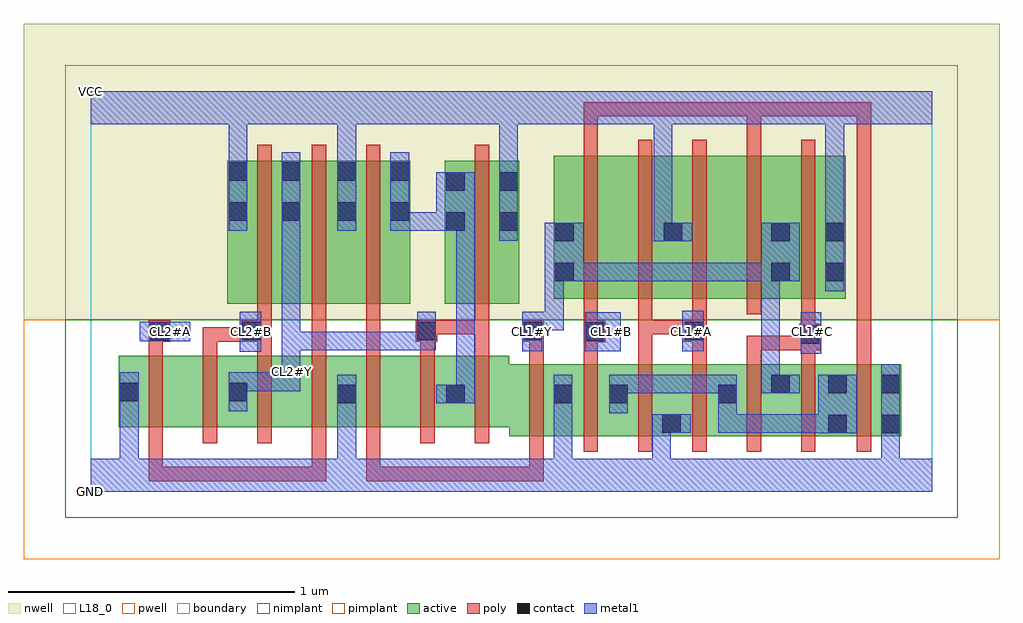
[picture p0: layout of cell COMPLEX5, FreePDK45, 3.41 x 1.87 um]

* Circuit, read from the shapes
.subckt COMPLEX5 CL1#A CL1#B CL1#C CL1#Y CL2#A CL2#B CL2#Y GND VCC
M1 n1 CL2#A GND VSUBS nfet w=0.25u l=0.05u
M2 CL2#Y CL2#B n1 VSUBS nfet w=0.25u l=0.05u
M3 n2 CL2#B CL2#Y VSUBS nfet w=0.25u l=0.05u
M4 GND CL2#A n2 VSUBS nfet w=0.25u l=0.05u
M5 n3 CL1#Y GND VSUBS nfet w=0.25u l=0.05u
M6 n4 CL2#Y n3 VSUBS nfet w=0.25u l=0.05u
M7 n5 CL2#Y n4 VSUBS nfet w=0.25u l=0.05u
M8 GND CL1#Y n5 VSUBS nfet w=0.25u l=0.05u
M9 n6 CL1#B GND VSUBS nfet w=0.25u l=0.05u m=2
M10 GND CL1#A n6 VSUBS nfet w=0.25u l=0.05u m=2
M11 CL1#Y CL1#C n6 VSUBS nfet w=0.25u l=0.05u m=2
M12 CL2#Y CL2#B VCC n7 pfet w=0.5u l=0.05u
M13 VCC CL2#A CL2#Y n7 pfet w=0.5u l=0.05u
M14 n4 CL1#Y VCC n7 pfet w=0.5u l=0.05u
M15 VCC CL2#Y n4 n7 pfet w=0.5u l=0.05u
M16 n8 CL1#B CL1#Y n7 pfet w=0.5u l=0.05u
M17 VCC CL1#A n8 n7 pfet w=0.5u l=0.05u
M18 n9 CL1#A VCC n7 pfet w=0.5u l=0.05u
M19 CL1#Y CL1#B n9 n7 pfet w=0.5u l=0.05u
M20 VCC CL1#C CL1#Y n7 pfet w=0.5u l=0.05u
.ends

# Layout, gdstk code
import gdstk
lib = gdstk.Library(unit=1e-6, precision=1e-09)
def R(c, l, rs):  # rectangles x0, y0, x1, y1
    for r in rs: c.add(gdstk.rectangle(r[:2], r[2:], *l))
def A(c, l, x, y, w, h, nx, ny, dx, dy):  # array of equal rectangles
    R(c, l, [(x+i*dx, y+j*dy, x+i*dx+w, y+j*dy+h) for i in range(nx) for j in range(ny)])
active = (1, 0)
pwell = (2, 0)
nwell = (3, 0)
nimplant = (4, 0)
pimplant = (5, 0)
poly = (9, 0)
contact = (10, 0)
metal1 = (11, 0)
L18_0 = (18, 0)
boundary = (235, 0)

complex5 = lib.new_cell('COMPLEX5')
A(complex5, active, 0.097, 0.225, 0.225, 0.25, 4, 1, 0.38, 0)
A(complex5, active, 0.322, 0.225, 0.23, 0.25, 3, 1, 0.38, 0)
A(complex5, active, 0.477, 0.657, 0.26, 0.5, 3, 1, 0.38, 0)
R(complex5, active, [(1.462,0.195,1.687,0.445), (1.612,0.195,1.882,0.445), (1.807,0.195,2.067,0.445), (1.992,0.195,2.262,0.445), (1.992,0.195,2.067,0.372), (2.187,0.195,2.447,0.445), (2.372,0.195,2.647,0.445), (2.572,0.195,2.832,0.445), (2.757,0.195,2.832,0.445), (2.572,0.2,2.647,0.415), (0.097,0.225,0.172,0.475), (0.857,0.225,0.932,0.387), (1.237,0.225,1.312,0.467), (2.187,0.282,2.262,0.38), (0.477,0.297,0.552,0.467), (1.612,0.297,1.687,0.38), (1.807,0.297,1.882,0.38), (2.372,0.297,2.447,0.415), (0.477,0.657,0.552,1.157), (0.662,0.657,0.737,1.157), (0.662,0.657,0.932,1.157), (0.857,0.657,0.932,1.157), (1.042,0.657,1.117,1.157), (1.237,0.657,1.312,1.157), (1.422,0.657,1.497,1.157), (1.617,0.675,1.692,1.175), (1.617,0.675,1.842,1.175), (1.842,0.675,2.072,1.175), (1.997,0.675,2.072,1.175), (1.997,0.675,2.222,1.175), (2.222,0.675,2.447,1.175), (2.372,0.675,2.637,1.175), (2.562,0.675,2.637,1.175), (2.372,0.73,2.447,1.175)])
R(complex5, pwell, [(-0.235,-0.235,3.175,0.602)])
R(complex5, nwell, [(-0.235,0.602,3.175,1.635)])
R(complex5, nimplant, [(-0.09,-0.09,3.03,0.602)])
R(complex5, pimplant, [(-0.09,0.602,3.03,1.49)])
A(complex5, poly, 1.532, 0.14, 0.05, 0.36, 6, 1, 0.19, 0)
A(complex5, poly, 0.202, 0.17, 0.05, 0.36, 7, 1, 0.19, 0)
A(complex5, poly, 0.202, 0.48, 0.05, 0.095, 6, 1, 0.19, 0)
A(complex5, poly, 0.582, 0.602, 0.05, 0.61, 3, 1, 0.19, 0)
A(complex5, poly, 1.722, 0.62, 0.05, 0.61, 5, 1, 0.19, 0)
R(complex5, poly, [(0.202,0.037,0.252,0.087), (0.202,0.037,0.252,0.087), (0.202,0.037,0.252,0.087), (0.202,0.037,0.252,0.22), (0.202,0.037,0.442,0.087), (0.392,0.037,0.442,0.087), (0.392,0.037,0.442,0.087), (0.392,0.037,0.442,0.087), (0.392,0.037,0.69,0.087), (0.64,0.037,0.69,0.087), (0.64,0.037,0.69,0.087), (0.64,0.037,0.69,0.087), (0.64,0.037,0.822,0.087), (0.772,0.037,0.822,0.087), (0.772,0.037,0.822,0.22), (0.962,0.037,1.012,0.087), (0.962,0.037,1.26,0.087), (0.962,0.037,1.012,0.22), (1.21,0.037,1.26,0.087), (1.21,0.037,1.26,0.087), (1.21,0.037,1.26,0.087), (1.21,0.037,1.425,0.087), (1.375,0.037,1.425,0.087), (1.375,0.037,1.425,0.087), (1.375,0.037,1.425,0.087), (1.375,0.037,1.582,0.087), (1.532,0.037,1.582,0.087), (1.532,0.037,1.582,0.087), (1.532,0.037,1.582,0.087), (1.532,0.037,1.582,0.19), (2.677,0.14,2.727,0.5), (1.532,0.45,1.582,0.575), (1.722,0.45,1.772,0.572), (1.912,0.45,1.962,0.6), (2.102,0.45,2.152,0.575), (2.292,0.45,2.342,0.545), (2.482,0.45,2.532,0.545), (2.677,0.45,2.727,1.362), (1.342,0.48,1.392,0.6), (2.292,0.495,2.342,0.545), (2.292,0.495,2.525,0.545), (2.475,0.495,2.525,0.545), (2.475,0.495,2.525,0.545), (2.475,0.495,2.55,0.587), (1.722,0.522,1.797,0.597), (0.202,0.525,0.277,0.6), (0.392,0.525,0.442,0.575), (0.392,0.525,0.442,0.575), (0.392,0.525,0.442,0.575), (0.392,0.525,0.575,0.575), (0.525,0.525,0.632,0.6), (0.772,0.525,0.822,0.575), (0.772,0.525,0.822,0.652), (0.962,0.525,1.012,0.575), (0.962,0.525,1.012,0.652), (1.135,0.525,1.21,0.6), (1.507,0.525,1.582,0.6), (2.072,0.525,2.152,0.6), (2.482,0.537,2.532,0.67), (1.722,0.547,1.772,0.67), (0.582,0.55,0.632,0.652), (1.16,0.55,1.392,0.6), (1.342,0.55,1.392,0.6), (1.342,0.55,1.392,0.6), (1.342,0.55,1.392,0.6), (1.342,0.55,1.392,0.652), (1.912,0.55,1.962,0.6), (1.912,0.55,1.962,0.67), (1.912,0.55,2.122,0.6), (2.072,0.55,2.122,0.6), (2.072,0.55,2.122,0.6), (2.102,0.55,2.152,0.67), (1.342,0.602,1.392,1.212), (1.722,1.18,1.772,1.362), (2.292,1.18,2.342,1.362), (1.722,1.312,1.772,1.362), (1.722,1.312,1.772,1.362), (1.722,1.312,1.772,1.362), (1.722,1.312,1.99,1.362), (1.94,1.312,1.99,1.362), (1.94,1.312,1.99,1.362), (1.94,1.312,1.99,1.362), (1.94,1.312,2.122,1.362), (2.072,1.312,2.122,1.362), (2.072,1.312,2.285,1.362), (2.235,1.312,2.285,1.362), (2.235,1.312,2.342,1.362), (2.292,1.312,2.342,1.362), (2.292,1.312,2.595,1.362), (2.545,1.312,2.595,1.362), (2.545,1.312,2.595,1.362), (2.545,1.312,2.595,1.362), (2.545,1.312,2.727,1.362), (2.677,1.312,2.727,1.362), (2.677,1.312,2.727,1.362), (2.677,1.312,2.727,1.362), (2.677,1.312,2.727,1.362), (2.677,1.312,2.727,1.362), (2.677,1.312,2.727,1.362), (2.677,1.312,2.727,1.362), (2.677,1.312,2.727,1.362), (2.677,1.312,2.727,1.362), (2.677,1.312,2.727,1.362), (2.677,1.312,2.727,1.362), (2.677,1.312,2.727,1.362), (2.677,1.312,2.727,1.362)])
R(complex5, contact, [(2.577,0.205,2.642,0.27), (2.762,0.205,2.827,0.27), (1.997,0.207,2.062,0.272), (0.862,0.31,0.927,0.375), (1.242,0.31,1.307,0.375), (1.617,0.31,1.682,0.375), (1.812,0.31,1.877,0.375), (2.192,0.31,2.257,0.375), (0.102,0.317,0.167,0.382), (0.482,0.317,0.547,0.382), (2.377,0.345,2.442,0.41), (2.577,0.345,2.642,0.41), (2.762,0.345,2.827,0.41), (2.48,0.517,2.545,0.582), (1.727,0.527,1.792,0.592), (0.207,0.53,0.272,0.595), (0.53,0.53,0.595,0.595), (1.14,0.53,1.205,0.595), (1.512,0.53,1.577,0.595), (2.077,0.53,2.142,0.595), (1.622,0.735,1.687,0.8), (2.377,0.735,2.442,0.8), (2.567,0.735,2.632,0.8), (1.622,0.875,1.687,0.94), (2.002,0.875,2.067,0.94), (2.377,0.875,2.442,0.94), (2.567,0.875,2.632,0.94), (1.242,0.912,1.307,0.977), (1.427,0.912,1.492,0.977), (0.482,0.947,0.547,1.012), (0.667,0.947,0.732,1.012), (0.862,0.947,0.927,1.012), (1.047,0.947,1.112,1.012), (1.242,1.052,1.307,1.117), (1.427,1.052,1.492,1.117), (0.482,1.087,0.547,1.152), (0.667,1.087,0.732,1.152), (0.862,1.087,0.927,1.152), (1.047,1.087,1.112,1.152)])
R(complex5, metal1, [(0,0,2.94,0.115), (0.102,0.05,0.167,0.115), (0.102,0.05,0.167,0.115), (0.102,0.05,0.167,0.115), (0.102,0.05,0.167,0.115), (0.102,0.05,0.167,0.347), (0.862,0.05,0.927,0.115), (0.862,0.05,0.927,0.115), (0.862,0.05,0.927,0.115), (0.862,0.05,0.927,0.115), (0.862,0.05,0.927,0.34), (1.617,0.05,1.682,0.34), (1.962,0.05,2.027,0.272), (2.762,0.05,2.827,0.235), (2.762,0.05,2.827,0.115), (2.762,0.05,2.827,0.115), (2.762,0.05,2.827,0.115), (2.762,0.05,2.827,0.115), (2.762,0.17,2.827,0.445), (2.542,0.205,2.677,0.41), (1.962,0.207,2.027,0.272), (1.962,0.207,2.027,0.272), (1.962,0.207,2.027,0.272), (1.962,0.207,2.027,0.272), (1.962,0.207,2.097,0.272), (2.192,0.207,2.257,0.272), (2.192,0.207,2.407,0.272), (2.192,0.207,2.257,0.34), (2.342,0.207,2.407,0.272), (2.342,0.207,2.407,0.272), (2.342,0.207,2.407,0.272), (2.342,0.207,2.607,0.272), (2.542,0.207,2.607,0.272), (2.542,0.207,2.607,0.272), (0.862,0.275,0.927,0.41), (1.617,0.275,1.682,0.34), (1.617,0.275,1.682,0.34), (1.617,0.275,1.682,0.34), (1.617,0.275,1.682,0.34), (1.617,0.275,1.682,0.41), (1.812,0.275,1.877,0.41), (2.192,0.275,2.257,0.41), (0.102,0.282,0.167,0.417), (0.482,0.282,0.547,0.417), (1.207,0.31,1.342,0.375), (1.277,0.31,1.342,0.375), (1.277,0.31,1.342,0.375), (1.277,0.31,1.342,0.977), (1.812,0.345,1.877,0.41), (1.812,0.345,1.877,0.41), (1.812,0.345,2.12,0.41), (2.055,0.345,2.12,0.41), (2.055,0.345,2.257,0.41), (2.192,0.345,2.257,0.41), (2.192,0.345,2.257,0.41), (2.342,0.345,2.407,0.8), (2.342,0.345,2.477,0.41), (0.482,0.352,0.732,0.417), (0.667,0.352,0.732,0.417), (0.667,0.352,0.732,0.417), (0.667,0.352,0.732,0.417), (0.667,0.352,0.732,0.417), (0.667,0.352,0.732,0.56), (2.48,0.482,2.552,0.627), (0.52,0.49,0.595,0.63), (1.507,0.492,1.577,0.63), (1.727,0.492,1.852,0.627), (2.067,0.492,2.142,0.632), (0.667,0.495,0.87,0.56), (0.667,0.495,0.732,0.977), (0.805,0.495,0.87,0.56), (0.805,0.495,0.87,0.56), (0.805,0.495,0.87,0.56), (0.805,0.495,1.067,0.56), (1.002,0.495,1.067,0.56), (1.002,0.495,1.067,0.56), (1.002,0.495,1.067,0.56), (1.002,0.495,1.205,0.56), (1.14,0.495,1.205,0.63), (0.172,0.527,0.347,0.595), (1.512,0.565,1.652,0.63), (1.587,0.565,1.652,0.63), (1.587,0.565,1.652,0.8), (2.567,0.7,2.632,0.975), (1.587,0.735,1.722,0.94), (1.657,0.735,1.722,0.8), (1.657,0.735,1.722,0.8), (1.657,0.735,1.89,0.8), (1.825,0.735,1.89,0.8), (1.825,0.735,1.89,0.8), (1.825,0.735,1.89,0.8), (1.825,0.735,2.027,0.8), (1.962,0.735,2.027,0.8), (1.962,0.735,2.027,0.8), (1.962,0.735,2.027,0.8), (1.962,0.735,2.27,0.8), (2.205,0.735,2.27,0.8), (2.205,0.735,2.407,0.8), (2.342,0.735,2.407,0.8), (2.342,0.735,2.407,0.8), (2.342,0.735,2.407,0.8), (2.342,0.735,2.407,0.8), (2.342,0.735,2.477,0.94), (1.967,0.875,2.102,0.94), (1.967,0.875,2.032,1.35), (1.427,0.877,1.492,1.152), (2.567,0.91,2.632,1.35), (0.482,0.912,0.547,1.187), (0.667,0.912,0.732,1.187), (0.862,0.912,0.927,1.187), (1.047,0.912,1.112,1.187), (1.047,0.912,1.272,0.977), (1.207,0.912,1.272,0.977), (1.207,0.912,1.272,0.977), (1.207,0.912,1.342,1.117), (1.427,1.087,1.492,1.35), (0.482,1.122,0.547,1.187), (0.482,1.122,0.547,1.187), (0.482,1.122,0.547,1.35), (0.862,1.122,0.927,1.187), (0.862,1.122,0.927,1.187), (0.862,1.122,0.927,1.35), (0,1.285,2.94,1.4), (1.427,1.285,1.492,1.35), (1.427,1.285,1.492,1.35), (1.967,1.285,2.032,1.35), (1.967,1.285,2.032,1.35), (2.567,1.285,2.632,1.35), (2.567,1.285,2.632,1.35)])
A(complex5, L18_0, 1.507, 0.527, 0.065, 0.065, 3, 1, 0.28, 0)
R(complex5, L18_0, [(0,0,2.94,0.115), (0.102,0.05,0.167,0.115), (0.102,0.05,0.167,0.115), (0.102,0.05,0.167,0.115), (0.102,0.05,0.167,0.115), (0.102,0.05,0.167,0.347), (0.862,0.05,0.927,0.115), (0.862,0.05,0.927,0.115), (0.862,0.05,0.927,0.115), (0.862,0.05,0.927,0.115), (0.862,0.05,0.927,0.34), (1.617,0.05,1.682,0.34), (1.962,0.05,2.027,0.272), (2.762,0.05,2.827,0.115), (2.762,0.05,2.827,0.115), (2.762,0.05,2.827,0.115), (2.762,0.05,2.827,0.115), (2.762,0.05,2.827,0.235), (2.762,0.17,2.827,0.445), (1.962,0.207,2.027,0.272), (1.962,0.207,2.027,0.272), (1.962,0.207,2.027,0.272), (1.962,0.207,2.027,0.272), (1.962,0.207,2.097,0.272), (0.862,0.275,0.927,0.41), (1.617,0.275,1.682,0.34), (1.617,0.275,1.682,0.34), (1.617,0.275,1.682,0.34), (1.617,0.275,1.682,0.34), (1.617,0.275,1.682,0.41), (0.102,0.282,0.167,0.417), (0.482,0.282,0.547,0.417), (2.342,0.345,2.477,0.41), (2.342,0.345,2.407,0.8), (0.482,0.352,0.732,0.417), (0.667,0.352,0.732,0.417), (0.667,0.352,0.732,0.417), (0.667,0.352,0.732,0.417), (0.667,0.352,0.732,0.417), (0.667,0.352,0.732,0.56), (0.667,0.387,0.732,0.452), (2.48,0.482,2.552,0.627), (0.52,0.49,0.595,0.63), (1.507,0.492,1.577,0.63), (1.727,0.492,1.852,0.627), (2.067,0.492,2.142,0.632), (0.667,0.495,0.732,0.977), (0.667,0.495,0.87,0.56), (0.805,0.495,0.87,0.56), (0.805,0.495,0.87,0.56), (0.805,0.495,0.87,0.56), (0.805,0.495,1.067,0.56), (1.002,0.495,1.067,0.56), (1.002,0.495,1.067,0.56), (1.002,0.495,1.067,0.56), (1.002,0.495,1.205,0.56), (1.14,0.495,1.205,0.63), (0.172,0.527,0.347,0.595), (0.247,0.527,0.312,0.592), (0.527,0.527,0.592,0.592), (2.487,0.527,2.552,0.592), (1.512,0.565,1.652,0.63), (1.587,0.565,1.652,0.63), (1.587,0.565,1.652,0.8), (2.567,0.7,2.632,0.975), (1.587,0.735,1.722,0.94), (1.657,0.735,1.722,0.8), (1.657,0.735,1.722,0.8), (1.657,0.735,1.89,0.8), (1.825,0.735,1.89,0.8), (1.825,0.735,1.89,0.8), (1.825,0.735,1.89,0.8), (1.825,0.735,2.027,0.8), (1.962,0.735,2.027,0.8), (1.962,0.735,2.027,0.8), (1.962,0.735,2.027,0.8), (1.962,0.735,2.27,0.8), (2.205,0.735,2.27,0.8), (2.205,0.735,2.407,0.8), (2.342,0.735,2.407,0.8), (2.342,0.735,2.407,0.8), (2.342,0.735,2.407,0.8), (2.342,0.735,2.407,0.8), (2.342,0.735,2.477,0.94), (1.967,0.875,2.102,0.94), (1.967,0.875,2.032,1.35), (1.427,0.877,1.492,1.152), (2.567,0.91,2.632,1.35), (0.482,0.912,0.547,1.187), (0.667,0.912,0.732,1.187), (0.862,0.912,0.927,1.187), (1.427,1.087,1.492,1.35), (0.482,1.122,0.547,1.187), (0.482,1.122,0.547,1.187), (0.482,1.122,0.547,1.35), (0.862,1.122,0.927,1.187), (0.862,1.122,0.927,1.187), (0.862,1.122,0.927,1.35), (0,1.285,2.94,1.4), (1.427,1.285,1.492,1.35), (1.427,1.285,1.492,1.35), (1.967,1.285,2.032,1.35), (1.967,1.285,2.032,1.35), (2.567,1.285,2.632,1.35), (2.567,1.285,2.632,1.35)])
R(complex5, boundary, [(0,0,2.94,1.4)])
complex5.add(gdstk.Label('CL1#A', (2.1,0.56), layer=11, texttype=0))
complex5.add(gdstk.Label('CL1#B', (1.82,0.56), layer=11, texttype=0))
complex5.add(gdstk.Label('CL1#C', (2.52,0.56), layer=11, texttype=0))
complex5.add(gdstk.Label('CL1#Y', (1.54,0.56), layer=11, texttype=0))
complex5.add(gdstk.Label('CL2#A', (0.28,0.56), layer=11, texttype=0))
complex5.add(gdstk.Label('CL2#B', (0.56,0.56), layer=11, texttype=0))
complex5.add(gdstk.Label('CL2#Y', (0.7,0.42), layer=11, texttype=0))
complex5.add(gdstk.Label('VCC', (0,1.4), layer=11, texttype=0))
complex5.add(gdstk.Label('GND', (0,0), layer=11, texttype=0))

lib.write_gds('COMPLEX5.gds')
